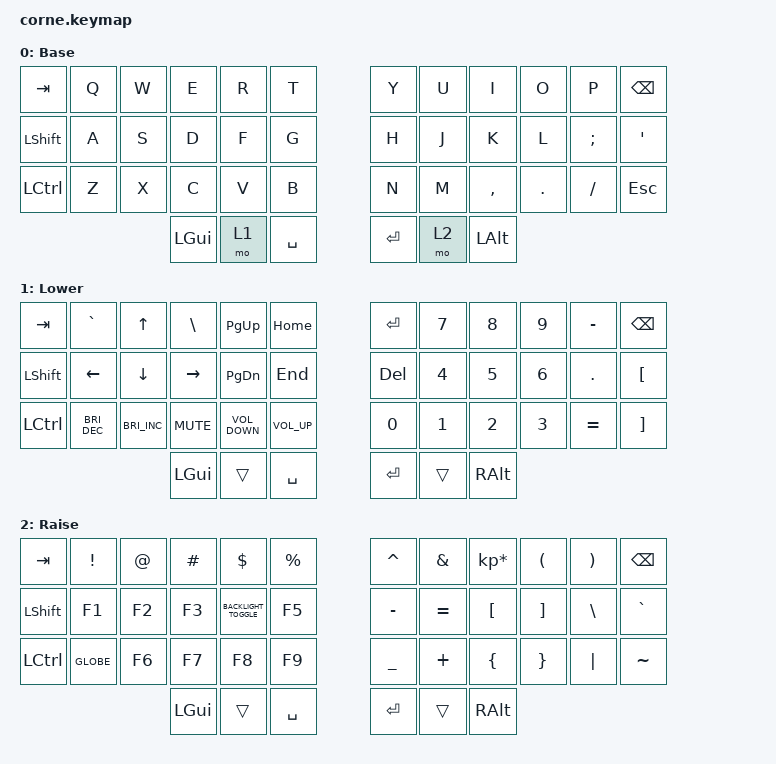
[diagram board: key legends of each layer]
/*
 * Copyright (c) 2020 The ZMK Contributors
 *
 * SPDX-License-Identifier: MIT
 */

#include <behaviors.dtsi>
#include <dt-bindings/zmk/keys.h>

/ {
    keymap {
        compatible = "zmk,keymap";

        default_layer {
            // -----------------------------------------------------------------------------------------
            // |  TAB |  Q  |  W  |  E  |  R  |  T  |   |  Y  |  U   |  I  |  O  |  P  | BKSP |
            // | CTRL |  A  |  S  |  D  |  F  |  G  |   |  H  |  J   |  K  |  L  |  ;  |  '   |
            // | SHFT |  Z  |  X  |  C  |  V  |  B  |   |  N  |  M   |  ,  |  .  |  /  | ESC  |
            //                    | GUI | LWR | SPC |   | ENT | RSE  | ALT |

            display-name = "Base";
            bindings = <
&kp TAB    &kp Q  &kp W  &kp E     &kp R  &kp T        &kp Y    &kp U  &kp I      &kp O    &kp P     &kp BSPC
&kp LSHFT  &kp A  &kp S  &kp D     &kp F  &kp G        &kp H    &kp J  &kp K      &kp L    &kp SEMI  &kp SQT
&kp LCTRL  &kp Z  &kp X  &kp C     &kp V  &kp B        &kp N    &kp M  &kp COMMA  &kp DOT  &kp FSLH  &kp ESC
                         &kp LGUI  &mo 1  &kp SPACE    &kp RET  &mo 2  &kp LALT
            >;
        };

        lower_layer {
            // -----------------------------------------------------------------------------------------
            // |  TAB |  1  |  2  |  3  |  4  |  5  |   |  6  |  7  |  8  |  9  |  0  | BKSP |
            // | BTCLR| BT1 | BT2 | BT3 | BT4 | BT5 |   | LFT | DWN |  UP | RGT |     |      |
            // | SHFT |     |     |     |     |     |   |     |     |     |     |     |      |
            //                    | GUI |     | SPC |   | ENT |     | ALT |

            display-name = "Lower";
            bindings = <
&kp TAB           &kp GRAVE             &kp UP_ARROW          &kp BACKSLASH    &kp PAGE_UP        &kp HOME           &kp ENTER   &kp N7  &kp N8    &kp N9  &kp MINUS   &kp BSPC
&kp LEFT_SHIFT    &kp LEFT_ARROW        &kp DOWN_ARROW        &kp RIGHT_ARROW  &kp PAGE_DOWN      &kp END            &kp DELETE  &kp N4  &kp N5    &kp N6  &kp PERIOD  &kp LBKT
&kp LEFT_CONTROL  &kp C_BRIGHTNESS_DEC  &kp C_BRIGHTNESS_INC  &kp K_MUTE       &kp C_VOLUME_DOWN  &kp C_VOLUME_UP    &kp N0      &kp N1  &kp N2    &kp N3  &kp EQUAL   &kp RBKT
                                                              &kp LGUI         &trans             &kp SPACE          &kp RET     &trans  &kp RALT
            >;
        };

        raise_layer {
            // -----------------------------------------------------------------------------------------
            // |  TAB |  !  |  @  |  #  |  $  |  %  |   |  ^  |  &  |  *  |  (  |  )  | BKSP |
            // | CTRL |     |     |     |     |     |   |  -  |  =  |  [  |  ]  |  \  |  `   |
            // | SHFT |     |     |     |     |     |   |  _  |  +  |  {  |  }  | "|" |  ~   |
            //                    | GUI |     | SPC |   | ENT |     | ALT |

            display-name = "Raise";
            bindings = <
&kp TAB           &kp EXCL   &kp AT  &kp HASH  &kp DLLR                &kp PRCNT    &kp CARET  &kp AMPS   &kp KP_MULTIPLY  &kp LPAR  &kp RPAR  &kp BSPC
&kp LEFT_SHIFT    &kp F1     &kp F2  &kp F3    &kp C_BACKLIGHT_TOGGLE  &kp F5       &kp MINUS  &kp EQUAL  &kp LBKT         &kp RBKT  &kp BSLH  &kp GRAVE
&kp LEFT_CONTROL  &kp GLOBE  &kp F6  &kp F7    &kp F8                  &kp F9       &kp UNDER  &kp PLUS   &kp LBRC         &kp RBRC  &kp PIPE  &kp TILDE
                                     &kp LGUI  &trans                  &kp SPACE    &kp RET    &trans     &kp RALT
            >;
        };

        extra_1 { status = "reserved"; };

        extra_2 { status = "reserved"; };

        extra_3 { status = "reserved"; };
    };
};
